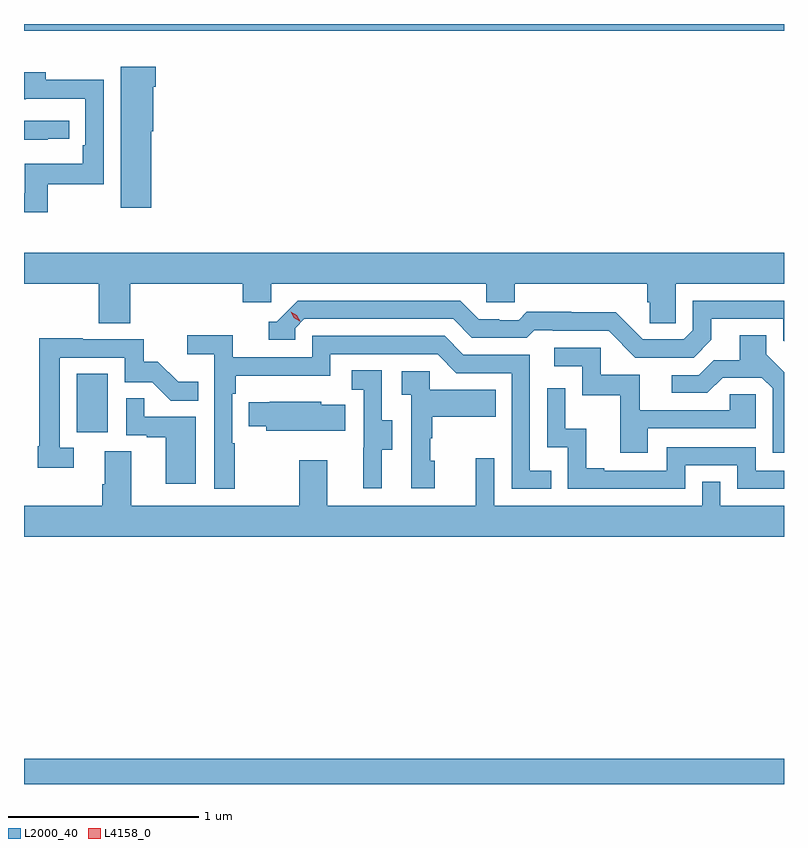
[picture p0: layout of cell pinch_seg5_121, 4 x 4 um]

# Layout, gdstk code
import gdstk
lib = gdstk.Library(unit=1e-6, precision=1e-09)
def R(c, l, rs):  # rectangles x0, y0, x1, y1
    for r in rs: c.add(gdstk.rectangle(r[:2], r[2:], *l))
def P(c, l, *ps):  # polygons
    for p in ps: c.add(gdstk.Polygon(p, *l))
L2000_40 = (2000, 40)
L4158_0 = (4158, 0)

pinch_seg5_121 = lib.new_cell('pinch_seg5_121')
R(pinch_seg5_121, L2000_40, [(1071.913,874.107,1075.913,874.24), (1072.19,875.958,1072.354,876.265), (1071.913,878.072,1075.913,878.107)])
P(pinch_seg5_121, L2000_40, [(1072.582,877.542),(1072.594,877.542),(1072.594,877.778),(1072.607,877.778),(1072.607,877.882),(1072.421,877.882),(1072.421,877.14),(1072.582,877.14)],
  [(1072.039,877.263),(1072.332,877.263),(1072.332,877.814),(1072.027,877.814),(1072.027,877.852),(1071.913,877.852),(1071.913,877.712),(1071.923,877.712),(1071.923,877.713),(1072.236,877.713),(1072.236,877.468),(1072.223,877.468),(1072.223,877.372),(1071.918,877.372),(1071.918,877.217),(1071.913,877.217),(1071.913,877.116),(1072.039,877.116)],
  [(1072.037,877.503),(1072.15,877.503),(1072.15,877.599),(1071.913,877.599),(1071.913,877.498),(1072.037,877.498)],
  [(1072.472,876.74),(1073.063,876.74),(1073.063,876.642),(1073.214,876.642),(1073.214,876.74),(1074.345,876.74),(1074.345,876.642),(1074.495,876.642),(1074.495,876.74),(1075.193,876.74),(1075.193,876.642),(1075.207,876.642),(1075.207,876.532),(1075.344,876.532),(1075.344,876.74),(1075.913,876.74),(1075.913,876.904),(1071.913,876.904),(1071.913,876.74),(1072.307,876.74),(1072.307,876.532),(1072.472,876.532)],
  [(1075.531,876.445),(1075.531,876.555),(1075.908,876.555),(1075.908,876.441),(1075.913,876.436),(1075.913,876.651),(1075.434,876.651),(1075.434,876.495),(1075.386,876.447),(1075.17,876.447),(1075.028,876.589),(1074.792,876.589),(1074.792,876.592),(1074.559,876.592),(1074.517,876.549),(1074.414,876.549),(1074.414,876.552),(1074.307,876.552),(1074.208,876.651),(1073.355,876.651),(1073.244,876.54),(1073.201,876.54),(1073.201,876.444),(1073.34,876.444),(1073.34,876.507),(1073.388,876.555),(1074.171,876.555),(1074.27,876.456),(1074.559,876.456),(1074.598,876.495),(1074.697,876.495),(1074.697,876.492),(1074.99,876.492),(1075.131,876.351),(1075.437,876.351)],
  [(1075.913,876.274),(1075.819,876.368),(1075.819,876.47),(1075.679,876.47),(1075.679,876.338),(1075.544,876.338),(1075.464,876.258),(1075.323,876.258),(1075.323,876.165),(1075.51,876.165),(1075.591,876.246),(1075.797,876.246),(1075.854,876.189),(1075.854,875.85),(1075.913,875.85)],
  [(1073.023,875.9),(1073.01,875.9),(1073.01,876.161),(1073.027,876.161),(1073.027,876.257),(1073.526,876.257),(1073.526,876.369),(1074.09,876.369),(1074.189,876.27),(1074.48,876.27),(1074.48,875.661),(1074.689,875.661),(1074.689,875.757),(1074.576,875.757),(1074.576,876.366),(1074.226,876.366),(1074.127,876.465),(1073.43,876.465),(1073.43,876.354),(1073.012,876.354),(1073.012,876.47),(1072.773,876.47),(1072.773,876.368),(1072.914,876.368),(1072.914,875.661),(1073.023,875.661)],
  [(1072.174,875.877),(1072.101,875.877),(1072.101,876.351),(1072.443,876.351),(1072.443,876.222),(1072.587,876.222),(1072.685,876.124),(1072.829,876.124),(1072.829,876.223),(1072.725,876.223),(1072.618,876.33),(1072.542,876.33),(1072.542,876.447),(1072.223,876.447),(1072.223,876.452),(1071.993,876.452),(1071.993,875.884),(1071.985,875.884),(1071.985,875.772),(1072.174,875.772)],
  [(1075.195,875.979),(1075.764,875.979),(1075.764,876.159),(1075.627,876.159),(1075.627,876.075),(1075.153,876.075),(1075.153,876.261),(1074.948,876.261),(1074.948,876.402),(1074.705,876.402),(1074.705,876.306),(1074.852,876.306),(1074.852,876.153),(1075.051,876.153),(1075.051,875.85),(1075.195,875.85)],
  [(1073.797,875.866),(1073.851,875.866),(1073.851,876.021),(1073.796,876.021),(1073.796,876.284),(1073.637,876.284),(1073.637,876.181),(1073.7,876.181),(1073.7,875.877),(1073.699,875.877),(1073.699,875.664),(1073.797,875.664)],
  [(1074.076,875.808),(1074.051,875.808),(1074.051,875.927),(1074.061,875.927),(1074.061,876.041),(1074.395,876.041),(1074.395,876.181),(1074.048,876.181),(1074.048,876.279),(1073.901,876.279),(1073.901,876.155),(1073.952,876.155),(1073.952,875.664),(1074.076,875.664)],
  [(1075.392,875.784),(1075.668,875.784),(1075.668,875.661),(1075.913,875.661),(1075.913,875.757),(1075.764,875.757),(1075.764,875.88),(1075.296,875.88),(1075.296,875.757),(1074.967,875.757),(1074.967,875.77),(1074.872,875.77),(1074.872,875.978),(1074.762,875.978),(1074.762,876.19),(1074.666,876.19),(1074.666,875.88),(1074.774,875.88),(1074.774,875.661),(1075.392,875.661)],
  [(1072.816,876.039),(1072.547,876.039),(1072.547,876.137),(1072.452,876.137),(1072.452,875.943),(1072.559,875.943),(1072.559,875.931),(1072.658,875.931),(1072.658,875.688),(1072.816,875.688)],
  [(1073.603,876.103),(1073.478,876.103),(1073.478,876.118),(1073.206,876.118),(1073.206,876.117),(1073.095,876.117),(1073.095,875.989),(1073.189,875.989),(1073.189,875.966),(1073.603,875.966)],
  [(1072.337,875.858),(1072.337,875.684),(1072.325,875.684),(1072.325,875.572),(1071.913,875.572),(1071.913,875.408),(1075.913,875.408),(1075.913,875.572),(1075.578,875.572),(1075.578,875.699),(1075.482,875.699),(1075.482,875.572),(1074.387,875.572),(1074.387,875.821),(1074.29,875.821),(1074.29,875.572),(1073.509,875.572),(1073.509,875.812),(1073.362,875.812),(1073.362,875.572),(1072.477,875.572),(1072.477,875.858)])
P(pinch_seg5_121, L4158_0, [(1073.365,876.542),(1073.334,876.561),(1073.317,876.593),(1073.317,876.593),(1073.317,876.593),(1073.349,876.575),(1073.366,876.543),(1073.366,876.542)])

lib.write_gds('pinch_seg5_121.gds')
